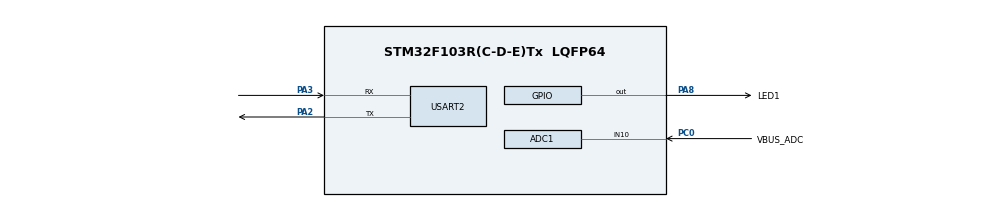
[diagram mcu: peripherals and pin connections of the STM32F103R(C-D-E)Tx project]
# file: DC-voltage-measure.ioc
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ADC1.Channel-0\#ChannelRegularConversion=ADC_CHANNEL_10
ADC1.ContinuousConvMode=ENABLE
ADC1.NbrOfConversion=1
ADC1.NbrOfConversionFlag=1
ADC1.Rank-0\#ChannelRegularConversion=1
ADC1.SamplingTime-0\#ChannelRegularConversion=ADC_SAMPLETIME_239CYCLES_5
ADC1.master=1
Mcu.Family=STM32F1
Mcu.Name=STM32F103R(C-D-E)Tx
Mcu.Package=LQFP64
NVIC.PriorityGroup=NVIC_PRIORITYGROUP_4
PA13.Mode=Serial_Wire
PA13.Signal=SYS_JTMS-SWDIO
PA14.Mode=Serial_Wire
PA14.Signal=SYS_JTCK-SWCLK
PA2.Mode=Asynchronous
PA2.Signal=USART2_TX
PA3.Mode=Asynchronous
PA3.Signal=USART2_RX
PA8.GPIO_Label=LED1
PA8.Signal=GPIO_Output
PC0.GPIO_Label=VBUS_ADC
PC0.Signal=ADCx_IN10
PD0-OSC_IN.Mode=HSE-External-Oscillator
PD0-OSC_IN.Signal=RCC_OSC_IN
PD1-OSC_OUT.Mode=HSE-External-Oscillator
PD1-OSC_OUT.Signal=RCC_OSC_OUT
ProjectManager.HeapSize=0x200
ProjectManager.StackSize=0x400
ProjectManager.TargetToolchain=STM32CubeIDE
RCC.APB1Freq_Value=8000000
RCC.APB2Freq_Value=8000000
SH.ADCx_IN10.0=ADC1_IN10,IN10
USART2.VirtualMode=VM_ASYNC
board=custom

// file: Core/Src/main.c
/* USER CODE BEGIN Header */
/**
  ******************************************************************************
  * @file           : main.c
  * @brief          : Main program body
  ******************************************************************************
  * @attention
  *
  * Copyright (c) 2025 STMicroelectronics.
  * All rights reserved.
  *
  * This software is licensed under terms that can be found in the LICENSE file
  * in the root directory of this software component.
  * If no LICENSE file comes with this software, it is provided AS-IS.
  *
  ******************************************************************************
  */
/* USER CODE END Header */
#include "main.h"

/* USER CODE BEGIN Includes */

#include "stdio.h"
#include "string.h"

/* USER CODE END Includes */

ADC_HandleTypeDef hadc1;

UART_HandleTypeDef huart2;

void SystemClock_Config(void);
static void MX_GPIO_Init(void);
static void MX_ADC1_Init(void);
static void MX_USART2_UART_Init(void);

int main(void)
{

  /* MCU Configuration--------------------------------------------------------*/

  /* Reset of all peripherals, Initializes the Flash interface and the Systick. */
  HAL_Init();

  /* Configure the system clock */
  SystemClock_Config();

  /* Initialize all configured peripherals */
  MX_GPIO_Init();
  MX_ADC1_Init();
  MX_USART2_UART_Init();
  /* USER CODE BEGIN 2 */

  HAL_ADC_Start(&hadc1);

  uint32_t raw_dc_battery_voltage = 0;
  float converted_dc_battery_voltage = 0;

  const float divider_scale = 4.24;

  char eps_packet_buffer[50];

  /* USER CODE END 2 */

  /* Infinite loop */
  while (1)
  {

    /* USER CODE BEGIN 3 */
//	  HAL_GPIO_TogglePin(LED1_GPIO_Port, LED1_Pin);
//	  HAL_Delay(100);

	  // read the battery voltage
	  // wait for scan to complete
	  if(HAL_ADC_PollForConversion(&hadc1, HAL_MAX_DELAY) == HAL_OK) {
		  raw_dc_battery_voltage = HAL_ADC_GetValue(&hadc1);
		  converted_dc_battery_voltage = ( ((float) raw_dc_battery_voltage) * ((float) 3.3 / 4095) ) * divider_scale; // 12 bit
	  }

	  sprintf(eps_packet_buffer,
	  				  "raw:%lu, real:%.2f\r\n",
	  				  raw_dc_battery_voltage,
	  				  converted_dc_battery_voltage);

	  HAL_UART_Transmit(&huart2, (uint8_t*)eps_packet_buffer, strlen(eps_packet_buffer), 500);
	  HAL_Delay(200);

  }
  /* USER CODE END 3 */
}

void SystemClock_Config(void)
{
  RCC_OscInitTypeDef RCC_OscInitStruct = {0};
  RCC_ClkInitTypeDef RCC_ClkInitStruct = {0};
  RCC_PeriphCLKInitTypeDef PeriphClkInit = {0};

  /** Initializes the RCC Oscillators according to the specified parameters
  * in the RCC_OscInitTypeDef structure.
  */
  RCC_OscInitStruct.OscillatorType = RCC_OSCILLATORTYPE_HSI;
  RCC_OscInitStruct.HSIState = RCC_HSI_ON;
  RCC_OscInitStruct.HSICalibrationValue = RCC_HSICALIBRATION_DEFAULT;
  RCC_OscInitStruct.PLL.PLLState = RCC_PLL_NONE;
  if (HAL_RCC_OscConfig(&RCC_OscInitStruct) != HAL_OK)
  {
    Error_Handler();
  }

  /** Initializes the CPU, AHB and APB buses clocks
  */
  RCC_ClkInitStruct.ClockType = RCC_CLOCKTYPE_HCLK|RCC_CLOCKTYPE_SYSCLK
                              |RCC_CLOCKTYPE_PCLK1|RCC_CLOCKTYPE_PCLK2;
  RCC_ClkInitStruct.SYSCLKSource = RCC_SYSCLKSOURCE_HSI;
  RCC_ClkInitStruct.AHBCLKDivider = RCC_SYSCLK_DIV1;
  RCC_ClkInitStruct.APB1CLKDivider = RCC_HCLK_DIV1;
  RCC_ClkInitStruct.APB2CLKDivider = RCC_HCLK_DIV1;

  if (HAL_RCC_ClockConfig(&RCC_ClkInitStruct, FLASH_LATENCY_0) != HAL_OK)
  {
    Error_Handler();
  }
  PeriphClkInit.PeriphClockSelection = RCC_PERIPHCLK_ADC;
  PeriphClkInit.AdcClockSelection = RCC_ADCPCLK2_DIV2;
  if (HAL_RCCEx_PeriphCLKConfig(&PeriphClkInit) != HAL_OK)
  {
    Error_Handler();
  }
}

static void MX_ADC1_Init(void)
{

  ADC_ChannelConfTypeDef sConfig = {0};

  /* USER CODE BEGIN ADC1_Init 1 */
  //hadc1.Init.Resolution = ADC_RESOLUTION_12B; // 12 bit resolution

  /* USER CODE END ADC1_Init 1 */

  /** Common config
  */
  hadc1.Instance = ADC1;
  hadc1.Init.ScanConvMode = ADC_SCAN_DISABLE;
  hadc1.Init.ContinuousConvMode = ENABLE;
  hadc1.Init.DiscontinuousConvMode = DISABLE;
  hadc1.Init.ExternalTrigConv = ADC_SOFTWARE_START;
  hadc1.Init.DataAlign = ADC_DATAALIGN_RIGHT;
  hadc1.Init.NbrOfConversion = 1;
  if (HAL_ADC_Init(&hadc1) != HAL_OK)
  {
    Error_Handler();
  }

  /** Configure Regular Channel
  */
  sConfig.Channel = ADC_CHANNEL_10;
  sConfig.Rank = ADC_REGULAR_RANK_1;
  sConfig.SamplingTime = ADC_SAMPLETIME_239CYCLES_5;
  if (HAL_ADC_ConfigChannel(&hadc1, &sConfig) != HAL_OK)
  {
    Error_Handler();
  }

}

static void MX_USART2_UART_Init(void)
{

  huart2.Instance = USART2;
  huart2.Init.BaudRate = 115200;
  huart2.Init.WordLength = UART_WORDLENGTH_8B;
  huart2.Init.StopBits = UART_STOPBITS_1;
  huart2.Init.Parity = UART_PARITY_NONE;
  huart2.Init.Mode = UART_MODE_TX_RX;
  huart2.Init.HwFlowCtl = UART_HWCONTROL_NONE;
  huart2.Init.OverSampling = UART_OVERSAMPLING_16;
  if (HAL_UART_Init(&huart2) != HAL_OK)
  {
    Error_Handler();
  }

}

static void MX_GPIO_Init(void)
{
  GPIO_InitTypeDef GPIO_InitStruct = {0};

  /* GPIO Ports Clock Enable */
  __HAL_RCC_GPIOD_CLK_ENABLE();
  __HAL_RCC_GPIOC_CLK_ENABLE();
  __HAL_RCC_GPIOA_CLK_ENABLE();

  /*Configure GPIO pin Output Level */
  HAL_GPIO_WritePin(LED1_GPIO_Port, LED1_Pin, GPIO_PIN_RESET);

  /*Configure GPIO pin : LED1_Pin */
  GPIO_InitStruct.Pin = LED1_Pin;
  GPIO_InitStruct.Mode = GPIO_MODE_OUTPUT_PP;
  GPIO_InitStruct.Pull = GPIO_NOPULL;
  GPIO_InitStruct.Speed = GPIO_SPEED_FREQ_LOW;
  HAL_GPIO_Init(LED1_GPIO_Port, &GPIO_InitStruct);

}

void Error_Handler(void)
{
  __disable_irq();
  while (1)
  {
  }
}
